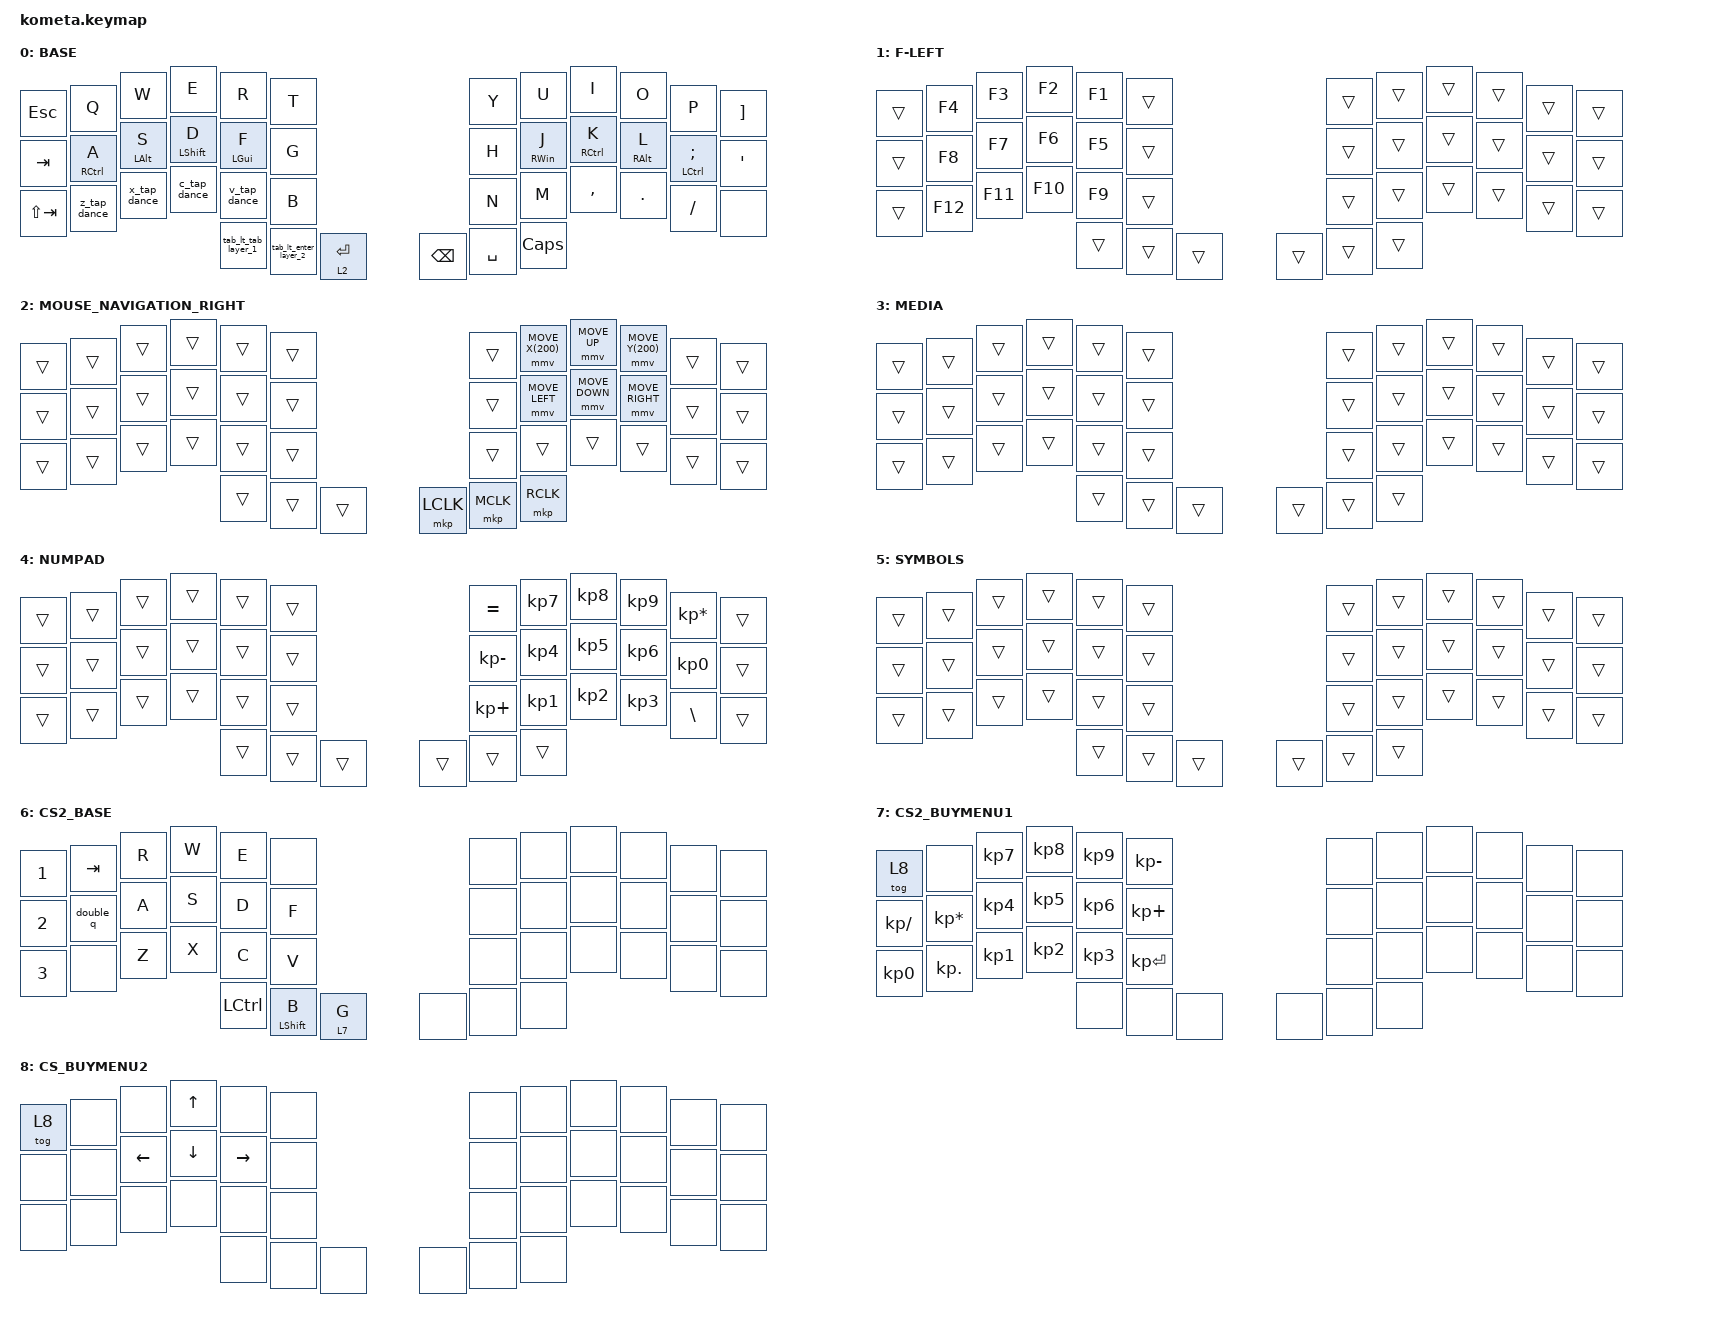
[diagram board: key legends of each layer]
#include <behaviors.dtsi>
#include <dt-bindings/zmk/keys.h>
#include <dt-bindings/zmk/pointing.h>

#define DEF 0
#define LWR 1
#define RSE 2
#define ADJ 3

/ {
    behaviors {
        hr: hr {
            compatible = "zmk,behavior-hold-tap";
            label = "home_row";
            bindings = <&kp>, <&kp>;

            #binding-cells = <2>;
            tapping-term-ms = <150>;
            quick-tap-ms = <250>;
            flavor = "tap-preferred";
        };

        copy: copy {
            compatible = "zmk,behavior-tap-dance";
            label = "COPY";
            #binding-cells = <0>;
            bindings = <&kp C>, <&kp K_COPY>;
        };

        paste: paste {
            compatible = "zmk,behavior-tap-dance";
            label = "PASTE";
            #binding-cells = <0>;
            bindings = <&kp V>, <&kp INSERT>;
        };

        z_tap_dance: z_tap_dance {
            compatible = "zmk,behavior-tap-dance";
            label = "Z_TAP_DANCE";
            #binding-cells = <0>;
            bindings = <&kp LG(Z)>, <&kp LG(Z)>;
        };

        x_tap_dance: x_tap_dance {
            compatible = "zmk,behavior-tap-dance";
            label = "X_TAP_DANCE";
            #binding-cells = <0>;
            bindings = <&kp X>, <&kp LG(X)>;
        };

        c_tap_dance: c_tap_dance {
            compatible = "zmk,behavior-tap-dance";
            label = "C_TAP_DANCE";
            #binding-cells = <0>;
            bindings = <&kp C>, <&kp LG(C)>;
        };

        v_tap_dance: v_tap_dance {
            compatible = "zmk,behavior-tap-dance";
            label = "V_TAP_DANCE";
            #binding-cells = <0>;
            bindings = <&kp V>, <&kp LG(V)>;
        };

        smart_shift: smart_shift {
            compatible = "zmk,behavior-mod-morph";
            label = "SMART_SHIFT";
            bindings = <&sk LEFT_SHIFT>, <&caps_word>;

            #binding-cells = <0>;
            mods = <(MOD_LSFT)>;
        };

        tab_lt_tab_layer_1: tab_lt_tab_layer_1 {
            compatible = "zmk,behavior-tap-dance";
            label = "TAB_LT_TAB_LAYER_1";
            #binding-cells = <0>;
            bindings = <&lt 1 TAB>, <&mkp LCLK>;
        };

        tab_lt_enter_layer_2: tab_lt_enter_layer_2 {
            compatible = "zmk,behavior-tap-dance";
            label = "TAB_LT_ENTER_LAYER_2";
            #binding-cells = <0>;
            bindings = <&lt 0 ENTER>, <&mkp RCLK>;
        };
    };

    combos {
        compatible = "zmk,combos";

        combo_esc {
            bindings = <&kp ESCAPE>;
            key-positions = <5 4>;
        };

        combo_open_round_bracket {
            bindings = <&kp N9>;
            key-positions = <4 3>;
        };

        combo_close_round_bracket {
            bindings = <&kp N0>;
            key-positions = <8 7>;
        };

        combo_open_square_bracket {
            bindings = <&kp LA(LEFT_BRACKET)>;
            key-positions = <2 3>;
        };

        combo_closed_square_bracket {
            bindings = <&kp LA(RIGHT_BRACKET)>;
            key-positions = <8 9>;
        };

        combo_open_curly_bracket {
            bindings = <&kp LS(LA(LEFT_BRACE))>;
            key-positions = <2 1>;
        };

        combo_closed_curly_bracket {
            bindings = <&kp LS(LA(RIGHT_BRACE))>;
            key-positions = <10 9>;
        };

        combo_capslock {
            bindings = <&caps_word>;
            key-positions = <26 27 28>;
        };

        combo_tog_mouse_layer {
            bindings = <&tog 2>;
            key-positions = <18 7>;
        };

        combo_cs2_mode {
            bindings = <&tog 6>;
            key-positions = <1 4>;
        };
    };

    macros {
        double_q: double_q {
            compatible = "zmk,behavior-macro";
            #binding-cells = <0>;
            bindings = <&kp Q &kp Q>;
            label = "DOUBLE_Q";
        };
    };

    keymap {
        compatible = "zmk,keymap";

        BASE {
            bindings = <
&kp ESCAPE   &kp Q         &kp W           &kp E                &kp R                  &kp T      &kp Y          &kp U            &kp I         &kp O            &kp P                &kp RIGHT_BRACKET
&kp TAB      &hr RCTRL A   &hr LEFT_ALT S  &hr LEFT_SHIFT D     &hr LEFT_GUI F         &kp G      &kp H          &hr RIGHT_WIN J  &hr RCTRL K   &hr RIGHT_ALT L  &hr LCTRL SEMICOLON  &kp SQT
&kp LS(TAB)  &z_tap_dance  &x_tap_dance    &c_tap_dance         &v_tap_dance           &kp B      &kp N          &kp M            &kp COMMA     &kp DOT          &kp FSLH             &none
                                           &tab_lt_tab_layer_1  &tab_lt_enter_layer_2  &lt 2 RET  &kp BACKSPACE  &kp SPACE        &kp CAPSLOCK
            >;
        };

        F-LEFT {
            bindings = <
&trans  &kp F4   &kp F3   &kp F2   &kp F1  &trans  &trans  &trans  &trans  &trans  &trans  &trans
&trans  &kp F8   &kp F7   &kp F6   &kp F5  &trans  &trans  &trans  &trans  &trans  &trans  &trans
&trans  &kp F12  &kp F11  &kp F10  &kp F9  &trans  &trans  &trans  &trans  &trans  &trans  &trans
                          &trans   &trans  &trans  &trans  &trans  &trans
            >;
        };

        MOUSE_NAVIGATION_RIGHT {
            bindings = <
&trans  &trans  &trans  &trans  &trans  &trans  &trans     &mmv MOVE_X(200)  &mmv MOVE_UP    &mmv MOVE_Y(200)  &trans  &trans
&trans  &trans  &trans  &trans  &trans  &trans  &trans     &mmv MOVE_LEFT    &mmv MOVE_DOWN  &mmv MOVE_RIGHT   &trans  &trans
&trans  &trans  &trans  &trans  &trans  &trans  &trans     &trans            &trans          &trans            &trans  &trans
                        &trans  &trans  &trans  &mkp LCLK  &mkp MCLK         &mkp RCLK
            >;
        };

        MEDIA {
            bindings = <
&trans  &trans  &trans  &trans  &trans  &trans  &trans  &trans  &trans  &trans  &trans  &trans
&trans  &trans  &trans  &trans  &trans  &trans  &trans  &trans  &trans  &trans  &trans  &trans
&trans  &trans  &trans  &trans  &trans  &trans  &trans  &trans  &trans  &trans  &trans  &trans
                        &trans  &trans  &trans  &trans  &trans  &trans
            >;
        };

        NUMPAD {
            bindings = <
&trans  &trans  &trans  &trans  &trans  &trans  &kp EQUAL     &kp KP_NUMBER_7  &kp KP_NUMBER_8  &kp KP_NUMBER_9  &kp KP_MULTIPLY  &trans
&trans  &trans  &trans  &trans  &trans  &trans  &kp KP_MINUS  &kp KP_NUMBER_4  &kp KP_NUMBER_5  &kp KP_NUMBER_6  &kp KP_NUMBER_0  &trans
&trans  &trans  &trans  &trans  &trans  &trans  &kp KP_PLUS   &kp KP_NUMBER_1  &kp KP_NUMBER_2  &kp KP_NUMBER_3  &kp BACKSLASH    &trans
                        &trans  &trans  &trans  &trans        &trans           &trans
            >;
        };

        SYMBOLS {
            bindings = <
&trans  &trans  &trans  &trans  &trans  &trans  &trans  &trans  &trans  &trans  &trans  &trans
&trans  &trans  &trans  &trans  &trans  &trans  &trans  &trans  &trans  &trans  &trans  &trans
&trans  &trans  &trans  &trans  &trans  &trans  &trans  &trans  &trans  &trans  &trans  &trans
                        &trans  &trans  &trans  &trans  &trans  &trans
            >;
        };

        CS2_BASE {
            bindings = <
&kp NUMBER_1  &kp TAB    &kp R  &kp W             &kp E             &none    &none  &none  &none  &none  &none  &none
&kp NUMBER_2  &double_q  &kp A  &kp S             &kp D             &kp F    &none  &none  &none  &none  &none  &none
&kp NUMBER_3  &none      &kp Z  &kp X             &kp C             &kp V    &none  &none  &none  &none  &none  &none
                                &kp LEFT_CONTROL  &mt LEFT_SHIFT B  &lt 7 G  &none  &none  &none
            >;
        };

        CS2_BUYMENU1 {
            bindings = <
&tog 8           &none            &kp KP_NUMBER_7  &kp KP_NUMBER_8  &kp KP_NUMBER_9  &kp KP_MINUS  &none  &none  &none  &none  &none  &none
&kp KP_SLASH     &kp KP_MULTIPLY  &kp KP_NUMBER_4  &kp KP_NUMBER_5  &kp KP_NUMBER_6  &kp KP_PLUS   &none  &none  &none  &none  &none  &none
&kp KP_NUMBER_0  &kp KP_DOT       &kp KP_NUMBER_1  &kp KP_NUMBER_2  &kp KP_NUMBER_3  &kp KP_ENTER  &none  &none  &none  &none  &none  &none
                                                   &none            &none            &none         &none  &none  &none
            >;
        };

        CS_BUYMENU2 {
            bindings = <
&tog 8  &none  &none           &kp UP_ARROW    &none            &none  &none  &none  &none  &none  &none  &none
&none   &none  &kp LEFT_ARROW  &kp DOWN_ARROW  &kp RIGHT_ARROW  &none  &none  &none  &none  &none  &none  &none
&none   &none  &none           &none           &none            &none  &none  &none  &none  &none  &none  &none
                               &none           &none            &none  &none  &none  &none
            >;
        };
    };
};
